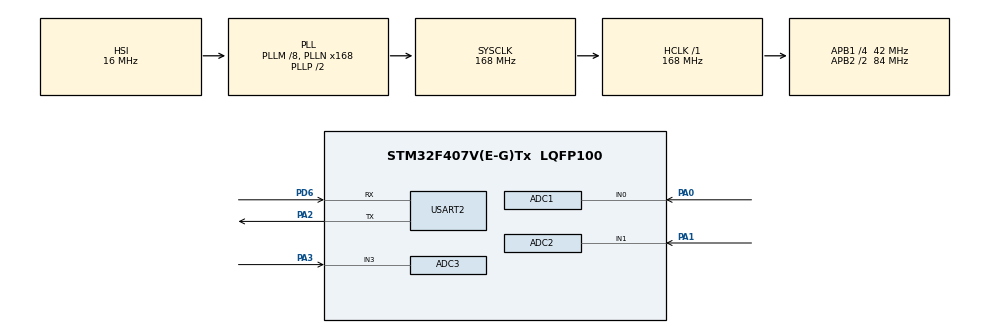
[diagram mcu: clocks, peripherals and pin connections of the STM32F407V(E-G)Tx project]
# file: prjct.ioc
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ADC1.Channel-0\#ChannelRegularConversion=ADC_CHANNEL_0
ADC1.NbrOfConversionFlag=1
ADC1.Rank-0\#ChannelRegularConversion=1
ADC1.SamplingTime-0\#ChannelRegularConversion=ADC_SAMPLETIME_3CYCLES
ADC1.master=1
ADC2.Channel-0\#ChannelRegularConversion=ADC_CHANNEL_1
ADC2.NbrOfConversionFlag=1
ADC2.Rank-0\#ChannelRegularConversion=1
ADC2.SamplingTime-0\#ChannelRegularConversion=ADC_SAMPLETIME_3CYCLES
ADC3.Channel-0\#ChannelRegularConversion=ADC_CHANNEL_3
ADC3.NbrOfConversionFlag=1
ADC3.Rank-0\#ChannelRegularConversion=1
ADC3.SamplingTime-0\#ChannelRegularConversion=ADC_SAMPLETIME_3CYCLES
FREERTOS.INCLUDE_vTaskDelayUntil=1
FREERTOS.Tasks01=defaultTask,-3,128,StartDefaultTask,Default,NULL,Dynamic,NULL,NULL
FREERTOS.configUSE_NEWLIB_REENTRANT=1
Mcu.Family=STM32F4
Mcu.Name=STM32F407V(E-G)Tx
Mcu.Package=LQFP100
NVIC.PriorityGroup=NVIC_PRIORITYGROUP_4
NVIC.TIM1_UP_TIM10_IRQn=true\:15\:0\:false\:false\:true\:false\:false\:true\:true
NVIC.TimeBase=TIM1_UP_TIM10_IRQn
NVIC.TimeBaseIP=TIM1
PA0-WKUP.Signal=ADCx_IN0
PA1.Signal=ADCx_IN1
PA2.Mode=Asynchronous
PA2.Signal=USART2_TX
PA3.Signal=ADCx_IN3
PD6.Mode=Asynchronous
PD6.Signal=USART2_RX
PH0-OSC_IN.Mode=HSE-External-Oscillator
PH0-OSC_IN.Signal=RCC_OSC_IN
PH1-OSC_OUT.Mode=HSE-External-Oscillator
PH1-OSC_OUT.Signal=RCC_OSC_OUT
ProjectManager.HeapSize=0x200
ProjectManager.StackSize=0x400
ProjectManager.TargetToolchain=STM32CubeIDE
RCC.48MHZClocksFreq_Value=48000000
RCC.AHBFreq_Value=168000000
RCC.APB1CLKDivider=RCC_HCLK_DIV4
RCC.APB1Freq_Value=42000000
RCC.APB1TimFreq_Value=84000000
RCC.APB2CLKDivider=RCC_HCLK_DIV2
RCC.APB2Freq_Value=84000000
RCC.APB2TimFreq_Value=168000000
RCC.CortexFreq_Value=168000000
RCC.HCLKFreq_Value=168000000
RCC.HSE_VALUE=8000000
RCC.HSI_VALUE=16000000
RCC.LSE_VALUE=32768
RCC.PLLM=8
RCC.PLLN=168
RCC.PLLQ=7
RCC.SYSCLKFreq_VALUE=168000000
RCC.SYSCLKSource=RCC_SYSCLKSOURCE_PLLCLK
RCC.VCOOutputFreq_Value=336000000
SH.ADCx_IN0.0=ADC1_IN0,IN0
SH.ADCx_IN1.0=ADC2_IN1,IN1
SH.ADCx_IN3.0=ADC3_IN3,IN3
USART2.VirtualMode=VM_ASYNC
VP_FREERTOS_VS_CMSIS_V1.Mode=CMSIS_V1
VP_SYS_VS_tim1.Mode=TIM1
board=STM32F407G-DISC1

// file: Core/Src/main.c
/* USER CODE BEGIN Header */
/**
  ******************************************************************************
  * @file           : main.c
  * @brief          : Main program body
  ******************************************************************************
  * @attention
  *
  * Copyright (c) 2024 STMicroelectronics.
  * All rights reserved.
  *
  * This software is licensed under terms that can be found in the LICENSE file
  * in the root directory of this software component.
  * If no LICENSE file comes with this software, it is provided AS-IS.
  *
  ******************************************************************************
  */
/* USER CODE END Header */
#include "main.h"
#include "cmsis_os.h"

/* USER CODE BEGIN Includes */
#include<string.h>
#include<stdio.h>
/* USER CODE END Includes */

ADC_HandleTypeDef hadc1;
ADC_HandleTypeDef hadc2;
ADC_HandleTypeDef hadc3;

UART_HandleTypeDef huart2;

osThreadId defaultTaskHandle;
/* USER CODE BEGIN PV */
xQueueHandle xQueue;
typedef struct sensor{
	uint32_t adcv1;
	uint32_t adcv2;
	uint32_t adcv3;
}sensor;
sensor a;
/* USER CODE END PV */

void SystemClock_Config(void);
static void MX_GPIO_Init(void);
static void MX_ADC1_Init(void);
static void MX_ADC2_Init(void);
static void MX_ADC3_Init(void);
static void MX_USART2_UART_Init(void);
void StartDefaultTask(void const * argument);

/* USER CODE BEGIN 0 */
void vSenderTask1(void *pvParam)
{

	TickType_t xTickCount = xTaskGetTickCount();
	while(1){
		HAL_ADC_Start(&hadc1);
		HAL_ADC_PollForConversion(&hadc1, HAL_MAX_DELAY);
		a.adcv1 = HAL_ADC_GetValue(&hadc1);
		HAL_ADC_Stop(&hadc1);
		xQueueSendToBack(xQueue, &a, portMAX_DELAY);
		vTaskDelayUntil(&xTickCount, 3000 / portTICK_RATE_MS);
	}
	vTaskDelete(NULL);
}
void vSenderTask2(void *pvParam)
{

	TickType_t xTickCount = xTaskGetTickCount();
	while(1){
		HAL_ADC_Start(&hadc2);
		HAL_ADC_PollForConversion(&hadc2, HAL_MAX_DELAY);
		a.adcv2 = HAL_ADC_GetValue(&hadc2);
		HAL_ADC_Stop(&hadc2);
		xQueueSendToBack(xQueue, &a, portMAX_DELAY);
		vTaskDelayUntil(&xTickCount, 3000 / portTICK_RATE_MS);
	}
	vTaskDelete(NULL);
}
void vSenderTask3(void *pvParam)
{

	TickType_t xTickCount = xTaskGetTickCount();
	while(1){
		HAL_ADC_Start(&hadc3);
		HAL_ADC_PollForConversion(&hadc3, HAL_MAX_DELAY);
		a.adcv3 = HAL_ADC_GetValue(&hadc3);
		HAL_ADC_Stop(&hadc3);
		xQueueSendToBack(xQueue, &a, portMAX_DELAY);
		vTaskDelayUntil(&xTickCount, 3000 / portTICK_RATE_MS);
	}
	vTaskDelete(NULL);
}

void vReceiverTask(void *pvParam)
{

	char msg[100];

	while((xQueueReceive(xQueue, &a, portMAX_DELAY)) == pdPASS)
	{
		portENTER_CRITICAL();
		uint32_t count = sprintf(msg, "field1=%d&field2=%d&field3=%d&status=MQTTPUBLISH\r\n", a.adcv1,a.adcv2,a.adcv3);
		HAL_UART_Transmit(&huart2, (uint8_t *)msg, count, HAL_MAX_DELAY);
		portEXIT_CRITICAL();
	}
	vTaskDelete(NULL);
}
/* USER CODE END 0 */

int main(void)
{

  /* MCU Configuration--------------------------------------------------------*/

  /* Reset of all peripherals, Initializes the Flash interface and the Systick. */
  HAL_Init();

  /* Configure the system clock */
  SystemClock_Config();

  /* Initialize all configured peripherals */
  MX_GPIO_Init();
  MX_ADC1_Init();
  MX_ADC2_Init();
  MX_ADC3_Init();
  MX_USART2_UART_Init();

  /* USER CODE BEGIN RTOS_QUEUES */
  /* add queues, ... */
  xQueue = xQueueCreate(5, 12);

  /* USER CODE END RTOS_QUEUES */

  /* Create the thread(s) */
  /* definition and creation of defaultTask */
  osThreadDef(defaultTask, StartDefaultTask, osPriorityIdle, 0, 128);
  defaultTaskHandle = osThreadCreate(osThread(defaultTask), NULL);

  /* USER CODE BEGIN RTOS_THREADS */
  /* add threads, ... */
  xTaskCreate(vSenderTask1, "Sender1", 128, NULL, 5, NULL);
  xTaskCreate(vSenderTask2, "Sender2", 128, NULL, 5, NULL);
  xTaskCreate(vSenderTask3, "Sender3", 128, NULL, 5, NULL);

  xTaskCreate(vReceiverTask, "Receiver", 128, NULL, 4, NULL);

  /* USER CODE END RTOS_THREADS */

  /* Start scheduler */
  osKernelStart();

  /* We should never get here as control is now taken by the scheduler */
  /* Infinite loop */
  while (1)
  {

  }
}

void SystemClock_Config(void)
{
  RCC_OscInitTypeDef RCC_OscInitStruct = {0};
  RCC_ClkInitTypeDef RCC_ClkInitStruct = {0};

  /** Configure the main internal regulator output voltage
  */
  __HAL_RCC_PWR_CLK_ENABLE();
  __HAL_PWR_VOLTAGESCALING_CONFIG(PWR_REGULATOR_VOLTAGE_SCALE1);

  /** Initializes the RCC Oscillators according to the specified parameters
  * in the RCC_OscInitTypeDef structure.
  */
  RCC_OscInitStruct.OscillatorType = RCC_OSCILLATORTYPE_HSI;
  RCC_OscInitStruct.HSIState = RCC_HSI_ON;
  RCC_OscInitStruct.HSICalibrationValue = RCC_HSICALIBRATION_DEFAULT;
  RCC_OscInitStruct.PLL.PLLState = RCC_PLL_ON;
  RCC_OscInitStruct.PLL.PLLSource = RCC_PLLSOURCE_HSI;
  RCC_OscInitStruct.PLL.PLLM = 8;
  RCC_OscInitStruct.PLL.PLLN = 168;
  RCC_OscInitStruct.PLL.PLLP = RCC_PLLP_DIV2;
  RCC_OscInitStruct.PLL.PLLQ = 7;
  if (HAL_RCC_OscConfig(&RCC_OscInitStruct) != HAL_OK)
  {
    Error_Handler();
  }

  /** Initializes the CPU, AHB and APB buses clocks
  */
  RCC_ClkInitStruct.ClockType = RCC_CLOCKTYPE_HCLK|RCC_CLOCKTYPE_SYSCLK
                              |RCC_CLOCKTYPE_PCLK1|RCC_CLOCKTYPE_PCLK2;
  RCC_ClkInitStruct.SYSCLKSource = RCC_SYSCLKSOURCE_PLLCLK;
  RCC_ClkInitStruct.AHBCLKDivider = RCC_SYSCLK_DIV1;
  RCC_ClkInitStruct.APB1CLKDivider = RCC_HCLK_DIV4;
  RCC_ClkInitStruct.APB2CLKDivider = RCC_HCLK_DIV2;

  if (HAL_RCC_ClockConfig(&RCC_ClkInitStruct, FLASH_LATENCY_5) != HAL_OK)
  {
    Error_Handler();
  }
}

static void MX_ADC1_Init(void)
{

  ADC_ChannelConfTypeDef sConfig = {0};

  /** Configure the global features of the ADC (Clock, Resolution, Data Alignment and number of conversion)
  */
  hadc1.Instance = ADC1;
  hadc1.Init.ClockPrescaler = ADC_CLOCK_SYNC_PCLK_DIV4;
  hadc1.Init.Resolution = ADC_RESOLUTION_12B;
  hadc1.Init.ScanConvMode = DISABLE;
  hadc1.Init.ContinuousConvMode = DISABLE;
  hadc1.Init.DiscontinuousConvMode = DISABLE;
  hadc1.Init.ExternalTrigConvEdge = ADC_EXTERNALTRIGCONVEDGE_NONE;
  hadc1.Init.ExternalTrigConv = ADC_SOFTWARE_START;
  hadc1.Init.DataAlign = ADC_DATAALIGN_RIGHT;
  hadc1.Init.NbrOfConversion = 1;
  hadc1.Init.DMAContinuousRequests = DISABLE;
  hadc1.Init.EOCSelection = ADC_EOC_SINGLE_CONV;
  if (HAL_ADC_Init(&hadc1) != HAL_OK)
  {
    Error_Handler();
  }

  /** Configure for the selected ADC regular channel its corresponding rank in the sequencer and its sample time.
  */
  sConfig.Channel = ADC_CHANNEL_0;
  sConfig.Rank = 1;
  sConfig.SamplingTime = ADC_SAMPLETIME_3CYCLES;
  if (HAL_ADC_ConfigChannel(&hadc1, &sConfig) != HAL_OK)
  {
    Error_Handler();
  }

}

static void MX_ADC2_Init(void)
{

  ADC_ChannelConfTypeDef sConfig = {0};

  /** Configure the global features of the ADC (Clock, Resolution, Data Alignment and number of conversion)
  */
  hadc2.Instance = ADC2;
  hadc2.Init.ClockPrescaler = ADC_CLOCK_SYNC_PCLK_DIV4;
  hadc2.Init.Resolution = ADC_RESOLUTION_12B;
  hadc2.Init.ScanConvMode = DISABLE;
  hadc2.Init.ContinuousConvMode = DISABLE;
  hadc2.Init.DiscontinuousConvMode = DISABLE;
  hadc2.Init.ExternalTrigConvEdge = ADC_EXTERNALTRIGCONVEDGE_NONE;
  hadc2.Init.ExternalTrigConv = ADC_SOFTWARE_START;
  hadc2.Init.DataAlign = ADC_DATAALIGN_RIGHT;
  hadc2.Init.NbrOfConversion = 1;
  hadc2.Init.DMAContinuousRequests = DISABLE;
  hadc2.Init.EOCSelection = ADC_EOC_SINGLE_CONV;
  if (HAL_ADC_Init(&hadc2) != HAL_OK)
  {
    Error_Handler();
  }

  /** Configure for the selected ADC regular channel its corresponding rank in the sequencer and its sample time.
  */
  sConfig.Channel = ADC_CHANNEL_1;
  sConfig.Rank = 1;
  sConfig.SamplingTime = ADC_SAMPLETIME_3CYCLES;
  if (HAL_ADC_ConfigChannel(&hadc2, &sConfig) != HAL_OK)
  {
    Error_Handler();
  }

}

static void MX_ADC3_Init(void)
{

  ADC_ChannelConfTypeDef sConfig = {0};

  /** Configure the global features of the ADC (Clock, Resolution, Data Alignment and number of conversion)
  */
  hadc3.Instance = ADC3;
  hadc3.Init.ClockPrescaler = ADC_CLOCK_SYNC_PCLK_DIV4;
  hadc3.Init.Resolution = ADC_RESOLUTION_12B;
  hadc3.Init.ScanConvMode = DISABLE;
  hadc3.Init.ContinuousConvMode = DISABLE;
  hadc3.Init.DiscontinuousConvMode = DISABLE;
  hadc3.Init.ExternalTrigConvEdge = ADC_EXTERNALTRIGCONVEDGE_NONE;
  hadc3.Init.ExternalTrigConv = ADC_SOFTWARE_START;
  hadc3.Init.DataAlign = ADC_DATAALIGN_RIGHT;
  hadc3.Init.NbrOfConversion = 1;
  hadc3.Init.DMAContinuousRequests = DISABLE;
  hadc3.Init.EOCSelection = ADC_EOC_SINGLE_CONV;
  if (HAL_ADC_Init(&hadc3) != HAL_OK)
  {
    Error_Handler();
  }

  /** Configure for the selected ADC regular channel its corresponding rank in the sequencer and its sample time.
  */
  sConfig.Channel = ADC_CHANNEL_3;
  sConfig.Rank = 1;
  sConfig.SamplingTime = ADC_SAMPLETIME_3CYCLES;
  if (HAL_ADC_ConfigChannel(&hadc3, &sConfig) != HAL_OK)
  {
    Error_Handler();
  }

}

static void MX_USART2_UART_Init(void)
{

  huart2.Instance = USART2;
  huart2.Init.BaudRate = 115200;
  huart2.Init.WordLength = UART_WORDLENGTH_8B;
  huart2.Init.StopBits = UART_STOPBITS_1;
  huart2.Init.Parity = UART_PARITY_NONE;
  huart2.Init.Mode = UART_MODE_TX_RX;
  huart2.Init.HwFlowCtl = UART_HWCONTROL_NONE;
  huart2.Init.OverSampling = UART_OVERSAMPLING_16;
  if (HAL_UART_Init(&huart2) != HAL_OK)
  {
    Error_Handler();
  }

}

static void MX_GPIO_Init(void)
{

  /* GPIO Ports Clock Enable */
  __HAL_RCC_GPIOH_CLK_ENABLE();
  __HAL_RCC_GPIOA_CLK_ENABLE();
  __HAL_RCC_GPIOD_CLK_ENABLE();

}

void StartDefaultTask(void const * argument)
{
  for(;;)
  {
    osDelay(1);
  }
}

void HAL_TIM_PeriodElapsedCallback(TIM_HandleTypeDef *htim)
{
  if (htim->Instance == TIM1) {
    HAL_IncTick();
  }
}

void Error_Handler(void)
{
  __disable_irq();
  while (1)
  {
  }
}
